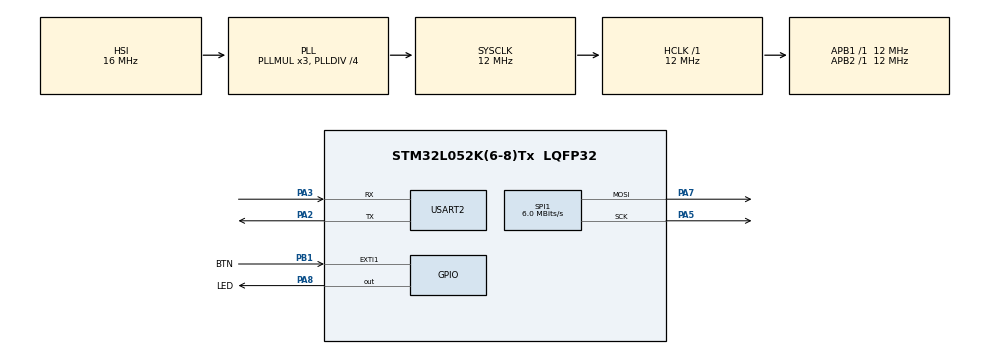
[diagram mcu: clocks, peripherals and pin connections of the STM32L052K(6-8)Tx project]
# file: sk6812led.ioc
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Dma.Request0=SPI1_TX
Dma.SPI1_TX.0.Direction=DMA_MEMORY_TO_PERIPH
Dma.SPI1_TX.0.Instance=DMA1_Channel3
Dma.SPI1_TX.0.MemDataAlignment=DMA_MDATAALIGN_BYTE
Dma.SPI1_TX.0.MemInc=DMA_MINC_ENABLE
Dma.SPI1_TX.0.Mode=DMA_NORMAL
Dma.SPI1_TX.0.PeriphDataAlignment=DMA_PDATAALIGN_BYTE
Dma.SPI1_TX.0.PeriphInc=DMA_PINC_DISABLE
Dma.SPI1_TX.0.Priority=DMA_PRIORITY_LOW
Mcu.Family=STM32L0
Mcu.Name=STM32L052K(6-8)Tx
Mcu.Package=LQFP32
NVIC.DMA1_Channel2_3_IRQn=true\:0\:0\:false\:false\:true\:false
NVIC.EXTI0_1_IRQn=true\:0\:0\:false\:false\:true\:true
PA13.Mode=Serial_Wire
PA13.Signal=SYS_SWDIO
PA14.Mode=Serial_Wire
PA14.Signal=SYS_SWCLK
PA2.Mode=Asynchronous
PA2.Signal=USART2_TX
PA3.Mode=Asynchronous
PA3.Signal=USART2_RX
PA5.Mode=TX_Only_Simplex_Unidirect_Master
PA5.Signal=SPI1_SCK
PA7.Mode=TX_Only_Simplex_Unidirect_Master
PA7.Signal=SPI1_MOSI
PA8.GPIO_Label=LED
PA8.PinState=GPIO_PIN_SET
PA8.Signal=GPIO_Output
PB1.GPIO_Label=BTN
PB1.GPIO_ModeDefaultEXTI=GPIO_MODE_IT_FALLING
PB1.GPIO_PuPd=GPIO_PULLUP
PB1.Signal=GPXTI1
ProjectManager.HeapSize=0x200
ProjectManager.StackSize=0x400
ProjectManager.TargetToolchain=Makefile
RCC.AHBFreq_Value=12000000
RCC.APB1Freq_Value=12000000
RCC.APB1TimFreq_Value=12000000
RCC.APB2Freq_Value=12000000
RCC.APB2TimFreq_Value=12000000
RCC.HCLKFreq_Value=12000000
RCC.HSI16_VALUE=16000000
RCC.HSI48_VALUE=48000000
RCC.HSI_VALUE=16000000
RCC.LSE_VALUE=32768
RCC.MSI_VALUE=2097000
RCC.PLLDIV=RCC_PLLDIV_4
RCC.SYSCLKFreq_VALUE=12000000
RCC.SYSCLKSource=RCC_SYSCLKSOURCE_PLLCLK
RCC.VCOOutputFreq_Value=48000000
RTC.AsynchPrediv=124
RTC.SynchPrediv=295
RTC.WakeUpClock=RTC_WAKEUPCLOCK_RTCCLK_DIV4
RTC.WakeUpCounter=924
SPI1.BaudRatePrescaler=SPI_BAUDRATEPRESCALER_2
SPI1.CalculateBaudRate=6.0 MBits/s
SPI1.Direction=SPI_DIRECTION_2LINES
SPI1.Mode=SPI_MODE_MASTER
SPI1.VirtualType=VM_MASTER
USART2.VirtualMode-Asynchronous=VM_ASYNC
VP_RTC_VS_RTC_Activate.Mode=RTC_Enabled
VP_RTC_VS_RTC_Calendar.Mode=RTC_Calendar
VP_RTC_VS_RTC_WakeUp_intern.Mode=WakeUp
board=custom

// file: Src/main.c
/**
  ******************************************************************************
  * @file           : main.c
  * @brief          : Main program body
  ******************************************************************************
  ** This notice applies to any and all portions of this file
  * that are not between comment pairs USER CODE BEGIN and
  * USER CODE END. Other portions of this file, whether
  * inserted by the user or by software development tools
  * are owned by their respective copyright owners.
  *
  * COPYRIGHT(c) 2018 STMicroelectronics
  *
  * Redistribution and use in source and binary forms, with or without modification,
  * are permitted provided that the following conditions are met:
  *   1. Redistributions of source code must retain the above copyright notice,
  *      this list of conditions and the following disclaimer.
  *   2. Redistributions in binary form must reproduce the above copyright notice,
  *      this list of conditions and the following disclaimer in the documentation
  *      and/or other materials provided with the distribution.
  *   3. Neither the name of STMicroelectronics nor the names of its contributors
  *      may be used to endorse or promote products derived from this software
  *      without specific prior written permission.
  *
  * THIS SOFTWARE IS PROVIDED BY THE COPYRIGHT HOLDERS AND CONTRIBUTORS "AS IS"
  * AND ANY EXPRESS OR IMPLIED WARRANTIES, INCLUDING, BUT NOT LIMITED TO, THE
  * IMPLIED WARRANTIES OF MERCHANTABILITY AND FITNESS FOR A PARTICULAR PURPOSE ARE
  * DISCLAIMED. IN NO EVENT SHALL THE COPYRIGHT HOLDER OR CONTRIBUTORS BE LIABLE
  * FOR ANY DIRECT, INDIRECT, INCIDENTAL, SPECIAL, EXEMPLARY, OR CONSEQUENTIAL
  * DAMAGES (INCLUDING, BUT NOT LIMITED TO, PROCUREMENT OF SUBSTITUTE GOODS OR
  * SERVICES; LOSS OF USE, DATA, OR PROFITS; OR BUSINESS INTERRUPTION) HOWEVER
  * CAUSED AND ON ANY THEORY OF LIABILITY, WHETHER IN CONTRACT, STRICT LIABILITY,
  * OR TORT (INCLUDING NEGLIGENCE OR OTHERWISE) ARISING IN ANY WAY OUT OF THE USE
  * OF THIS SOFTWARE, EVEN IF ADVISED OF THE POSSIBILITY OF SUCH DAMAGE.
  *
  ******************************************************************************
  */
#include "main.h"
#include "stm32l0xx_hal.h"

/* USER CODE BEGIN Includes */
#include "board.h"

/* USER CODE END Includes */

RTC_HandleTypeDef hrtc;

SPI_HandleTypeDef hspi1;
DMA_HandleTypeDef hdma_spi1_tx;

UART_HandleTypeDef huart2;

/* USER CODE BEGIN PV */
/* Private variables ---------------------------------------------------------*/
bool btn_int_flag = false;
unsigned btn_debounce = 0;
#define NO_LEDS				10
#define NO_COLORS			3
#define NO_BIT_DATA			(NO_LEDS * NO_COLORS * 4 + 3)
#define BIT_ZERO			0x08
#define BIT_ONE				0x0C
#define RGB(x,y,z)			((uint32_t)((x<<8) + (y<<16) + (z)))
uint8_t bit_data[NO_BIT_DATA] = {0x00};
/* USER CODE END PV */

void SystemClock_Config(void);
static void MX_GPIO_Init(void);
static void MX_DMA_Init(void);
static void MX_SPI1_Init(void);
static void MX_RTC_Init(void);
static void MX_USART2_UART_Init(void);

/* USER CODE BEGIN PFP */
/* Private function prototypes -----------------------------------------------*/
void System_Init(void);
void Fill_BitData(void);
/* USER CODE END PFP */

int main(void)
{

	/* MCU Configuration----------------------------------------------------------*/

	/* Reset of all peripherals, Initializes the Flash interface and the Systick. */
	HAL_Init();

	/* Configure the system clock */
	SystemClock_Config();

	/* Initialize all configured peripherals */
	MX_GPIO_Init();
	MX_DMA_Init();
	MX_SPI1_Init();
	MX_RTC_Init();
	MX_USART2_UART_Init();
	/* USER CODE BEGIN 2 */
	System_Init();
	/* USER CODE END 2 */

	/* Infinite loop */
	while (1)
	{

		/* USER CODE BEGIN 3 */
		if(btn_int_flag)
		{
			LED_TOGGLE;
			btn_int_flag = false;
			DbgPrintf("\r\nButton pressed");

			HAL_SPI_Transmit_DMA(&hspi1, bit_data, sizeof(bit_data));
		}

	}
	/* USER CODE END 3 */

}

void SystemClock_Config(void)
{

	RCC_OscInitTypeDef RCC_OscInitStruct;
	RCC_ClkInitTypeDef RCC_ClkInitStruct;
	RCC_PeriphCLKInitTypeDef PeriphClkInit;

	/**Configure the main internal regulator output voltage
	*/
	__HAL_PWR_VOLTAGESCALING_CONFIG(PWR_REGULATOR_VOLTAGE_SCALE1);

	/**Initializes the CPU, AHB and APB busses clocks
	*/
	RCC_OscInitStruct.OscillatorType = RCC_OSCILLATORTYPE_HSI|RCC_OSCILLATORTYPE_LSI;
	RCC_OscInitStruct.HSIState = RCC_HSI_ON;
	RCC_OscInitStruct.HSICalibrationValue = 16;
	RCC_OscInitStruct.LSIState = RCC_LSI_ON;
	RCC_OscInitStruct.PLL.PLLState = RCC_PLL_ON;
	RCC_OscInitStruct.PLL.PLLSource = RCC_PLLSOURCE_HSI;
	RCC_OscInitStruct.PLL.PLLMUL = RCC_PLLMUL_3;
	RCC_OscInitStruct.PLL.PLLDIV = RCC_PLLDIV_4;
	if (HAL_RCC_OscConfig(&RCC_OscInitStruct) != HAL_OK)
	{
		_Error_Handler(__FILE__, __LINE__);
	}

	/**Initializes the CPU, AHB and APB busses clocks
	*/
	RCC_ClkInitStruct.ClockType = RCC_CLOCKTYPE_HCLK|RCC_CLOCKTYPE_SYSCLK
	                              |RCC_CLOCKTYPE_PCLK1|RCC_CLOCKTYPE_PCLK2;
	RCC_ClkInitStruct.SYSCLKSource = RCC_SYSCLKSOURCE_PLLCLK;
	RCC_ClkInitStruct.AHBCLKDivider = RCC_SYSCLK_DIV1;
	RCC_ClkInitStruct.APB1CLKDivider = RCC_HCLK_DIV1;
	RCC_ClkInitStruct.APB2CLKDivider = RCC_HCLK_DIV1;

	if (HAL_RCC_ClockConfig(&RCC_ClkInitStruct, FLASH_LATENCY_0) != HAL_OK)
	{
		_Error_Handler(__FILE__, __LINE__);
	}

	PeriphClkInit.PeriphClockSelection = RCC_PERIPHCLK_USART2|RCC_PERIPHCLK_RTC;
	PeriphClkInit.Usart2ClockSelection = RCC_USART2CLKSOURCE_PCLK1;
	PeriphClkInit.RTCClockSelection = RCC_RTCCLKSOURCE_LSI;
	if (HAL_RCCEx_PeriphCLKConfig(&PeriphClkInit) != HAL_OK)
	{
		_Error_Handler(__FILE__, __LINE__);
	}

	/**Configure the Systick interrupt time
	*/
	HAL_SYSTICK_Config(HAL_RCC_GetHCLKFreq()/1000);

	/**Configure the Systick
	*/
	HAL_SYSTICK_CLKSourceConfig(SYSTICK_CLKSOURCE_HCLK);

	/* SysTick_IRQn interrupt configuration */
	HAL_NVIC_SetPriority(SysTick_IRQn, 0, 0);
}

/* RTC init function */
static void MX_RTC_Init(void)
{

	RTC_TimeTypeDef sTime;
	RTC_DateTypeDef sDate;

	/**Initialize RTC Only
	*/
	hrtc.Instance = RTC;
	hrtc.Init.HourFormat = RTC_HOURFORMAT_24;
	hrtc.Init.AsynchPrediv = 124;
	hrtc.Init.SynchPrediv = 295;
	hrtc.Init.OutPut = RTC_OUTPUT_DISABLE;
	hrtc.Init.OutPutRemap = RTC_OUTPUT_REMAP_NONE;
	hrtc.Init.OutPutPolarity = RTC_OUTPUT_POLARITY_HIGH;
	hrtc.Init.OutPutType = RTC_OUTPUT_TYPE_OPENDRAIN;
	if (HAL_RTC_Init(&hrtc) != HAL_OK)
	{
		_Error_Handler(__FILE__, __LINE__);
	}

	/**Initialize RTC and set the Time and Date
	*/
	sTime.Hours = 0x0;
	sTime.Minutes = 0x0;
	sTime.Seconds = 0x0;
	sTime.DayLightSaving = RTC_DAYLIGHTSAVING_NONE;
	sTime.StoreOperation = RTC_STOREOPERATION_RESET;
	if (HAL_RTC_SetTime(&hrtc, &sTime, RTC_FORMAT_BCD) != HAL_OK)
	{
		_Error_Handler(__FILE__, __LINE__);
	}

	sDate.WeekDay = RTC_WEEKDAY_MONDAY;
	sDate.Month = RTC_MONTH_JANUARY;
	sDate.Date = 0x1;
	sDate.Year = 0x0;

	if (HAL_RTC_SetDate(&hrtc, &sDate, RTC_FORMAT_BCD) != HAL_OK)
	{
		_Error_Handler(__FILE__, __LINE__);
	}

	/**Enable the WakeUp
	*/
	if (HAL_RTCEx_SetWakeUpTimer(&hrtc, 924, RTC_WAKEUPCLOCK_RTCCLK_DIV4) != HAL_OK)
	{
		_Error_Handler(__FILE__, __LINE__);
	}

}

/* SPI1 init function */
static void MX_SPI1_Init(void)
{

	/* SPI1 parameter configuration*/
	hspi1.Instance = SPI1;
	hspi1.Init.Mode = SPI_MODE_MASTER;
	hspi1.Init.Direction = SPI_DIRECTION_2LINES;
	hspi1.Init.DataSize = SPI_DATASIZE_8BIT;
	hspi1.Init.CLKPolarity = SPI_POLARITY_LOW;
	hspi1.Init.CLKPhase = SPI_PHASE_1EDGE;
	hspi1.Init.NSS = SPI_NSS_SOFT;
	hspi1.Init.BaudRatePrescaler = SPI_BAUDRATEPRESCALER_4;
	hspi1.Init.FirstBit = SPI_FIRSTBIT_MSB;
	hspi1.Init.TIMode = SPI_TIMODE_DISABLE;
	hspi1.Init.CRCCalculation = SPI_CRCCALCULATION_DISABLE;
	hspi1.Init.CRCPolynomial = 7;
	if (HAL_SPI_Init(&hspi1) != HAL_OK)
	{
		_Error_Handler(__FILE__, __LINE__);
	}
}

/* USART2 init function */
static void MX_USART2_UART_Init(void)
{

	huart2.Instance = USART2;
	huart2.Init.BaudRate = 115200;
	huart2.Init.WordLength = UART_WORDLENGTH_8B;
	huart2.Init.StopBits = UART_STOPBITS_1;
	huart2.Init.Parity = UART_PARITY_NONE;
	huart2.Init.Mode = UART_MODE_TX_RX;
	huart2.Init.HwFlowCtl = UART_HWCONTROL_NONE;
	huart2.Init.OverSampling = UART_OVERSAMPLING_16;
	huart2.Init.OneBitSampling = UART_ONE_BIT_SAMPLE_DISABLE;
	huart2.AdvancedInit.AdvFeatureInit = UART_ADVFEATURE_NO_INIT;
	if (HAL_UART_Init(&huart2) != HAL_OK)
	{
		_Error_Handler(__FILE__, __LINE__);
	}

}

static void MX_DMA_Init(void)
{
	/* DMA controller clock enable */
	__HAL_RCC_DMA1_CLK_ENABLE();

	/* DMA interrupt init */
	/* DMA1_Channel2_3_IRQn interrupt configuration */
	HAL_NVIC_SetPriority(DMA1_Channel2_3_IRQn, 0, 0);
	HAL_NVIC_EnableIRQ(DMA1_Channel2_3_IRQn);

}

/** Configure pins as
        * Analog
        * Input
        * Output
        * EVENT_OUT
        * EXTI
*/
static void MX_GPIO_Init(void)
{

	GPIO_InitTypeDef GPIO_InitStruct;

	/* GPIO Ports Clock Enable */
	__HAL_RCC_GPIOA_CLK_ENABLE();
	__HAL_RCC_GPIOB_CLK_ENABLE();

	/*Configure GPIO pin Output Level */
	HAL_GPIO_WritePin(LED_GPIO_Port, LED_Pin, GPIO_PIN_SET);

	/*Configure GPIO pin : BTN_Pin */
	GPIO_InitStruct.Pin = BTN_Pin;
	GPIO_InitStruct.Mode = GPIO_MODE_IT_FALLING;
	GPIO_InitStruct.Pull = GPIO_PULLUP;
	HAL_GPIO_Init(BTN_GPIO_Port, &GPIO_InitStruct);

	/*Configure GPIO pin : LED_Pin */
	GPIO_InitStruct.Pin = LED_Pin;
	GPIO_InitStruct.Mode = GPIO_MODE_OUTPUT_PP;
	GPIO_InitStruct.Pull = GPIO_NOPULL;
	GPIO_InitStruct.Speed = GPIO_SPEED_FREQ_LOW;
	HAL_GPIO_Init(LED_GPIO_Port, &GPIO_InitStruct);

	/* EXTI interrupt init*/
	HAL_NVIC_SetPriority(EXTI0_1_IRQn, 0, 0);
	HAL_NVIC_EnableIRQ(EXTI0_1_IRQn);

}

/* USER CODE BEGIN 4 */
void HAL_SYSTICK_Callback(void)
{
	if(btn_debounce)
	{
		btn_debounce--;
	}
}

void HAL_GPIO_EXTI_Callback(uint16_t GPIO_Pin)
{
	if((GPIO_Pin == BTN_Pin) && (btn_debounce == 0))
	{
		btn_int_flag = true;
		btn_debounce = 300;
	}
}

void System_Init(void)
{
	Fill_BitData();
}

void Fill_BitData(void)
{
	uint32_t color_map[NO_LEDS] = {
		RGB(100,  0,  0),RGB(  0,100,  0),RGB(  0,  0,100),
		RGB( 50, 50,  0),RGB( 50,  0, 50),RGB(  0, 50, 50),
		RGB( 36, 36, 18),RGB( 36, 20, 18),RGB( 18, 36, 36),
		RGB( 33, 33, 33)};

	int i, j=0, k;
	bool upper = false;
	uint8_t nibble = 0x00;

	bit_data[j++] = 0x00;
	bit_data[j] = 0x00;

	for(i = 0; i < NO_LEDS; i++)
	{
		for(k = 0; k < 24; k++)
		{
			if( (color_map[i] << (k + 8)) & 0x80000000 )
			{
				nibble = BIT_ONE;
			}
			else
			{
				nibble = BIT_ZERO;
			}

			if(upper)
			{
				bit_data[j] += (nibble << 4);
				upper = false;
			}
			else
			{
				bit_data[j++] += nibble;
				upper = true;
			}
		}
	}
}

/* USER CODE END 4 */

void _Error_Handler(char *file, int line)
{
	while(1)
	{
	}
}

/************************ (C) COPYRIGHT STMicroelectronics *****END OF FILE****/
